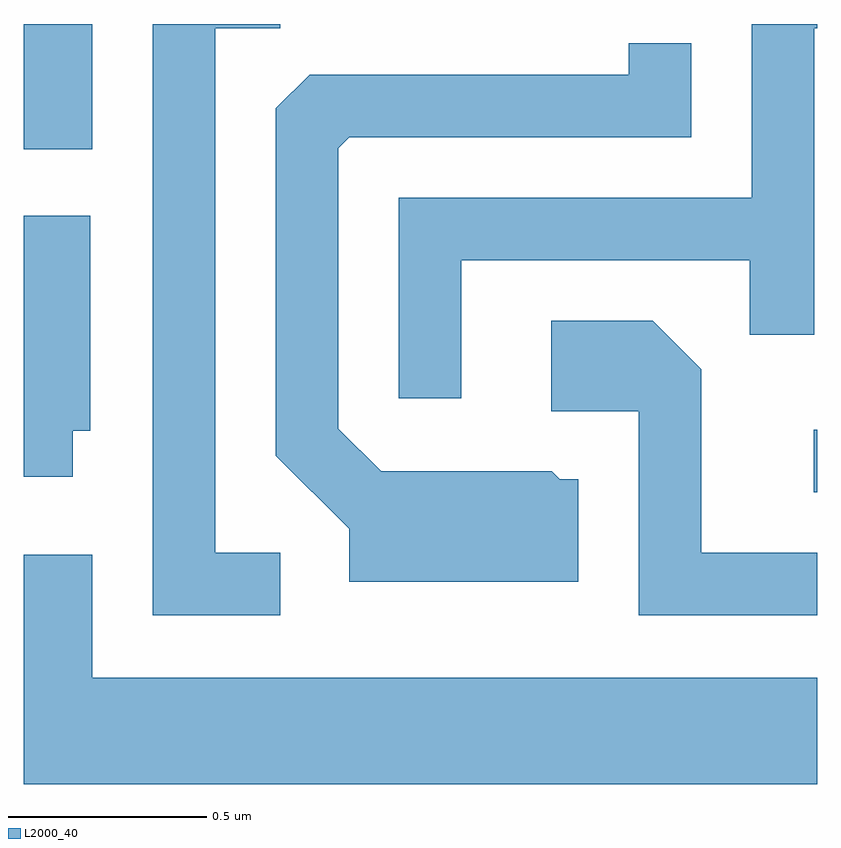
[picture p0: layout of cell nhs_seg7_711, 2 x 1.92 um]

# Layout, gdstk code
import gdstk
lib = gdstk.Library(unit=1e-6, precision=1e-09)
def R(c, l, rs):  # rectangles x0, y0, x1, y1
    for r in rs: c.add(gdstk.rectangle(r[:2], r[2:], *l))
def P(c, l, *ps):  # polygons
    for p in ps: c.add(gdstk.Polygon(p, *l))
L2000_40 = (2000, 40)

nhs_seg7_711 = lib.new_cell('nhs_seg7_711')
R(nhs_seg7_711, L2000_40, [(192.603,1695.071,192.611,1695.229), (190.611,1695.936,190.784,1696.252)])
P(nhs_seg7_711, L2000_40, [(191.258,1694.919),(191.094,1694.919),(191.094,1696.241),(191.258,1696.241),(191.258,1696.252),(190.936,1696.252),(190.936,1694.761),(191.258,1694.761)],
  [(191.714,1695.656),(192.441,1695.656),(192.441,1695.468),(192.604,1695.468),(192.604,1696.241),(192.611,1696.241),(192.611,1696.252),(192.446,1696.252),(192.446,1695.814),(191.556,1695.814),(191.556,1695.308),(191.714,1695.308)],
  [(192.009,1695.104),(191.962,1695.104),(191.942,1695.124),(191.512,1695.124),(191.404,1695.232),(191.404,1695.939),(191.432,1695.966),(192.294,1695.966),(192.294,1696.203),(192.136,1696.203),(192.136,1696.124),(191.332,1696.124),(191.246,1696.039),(191.246,1695.164),(191.431,1694.979),(191.431,1694.846),(192.009,1694.846)],
  [(190.734,1695.226),(190.779,1695.226),(190.779,1695.769),(190.611,1695.769),(190.611,1695.111),(190.734,1695.111)],
  [(192.611,1694.919),(192.319,1694.919),(192.319,1695.382),(192.197,1695.504),(191.941,1695.504),(191.941,1695.276),(192.161,1695.276),(192.161,1694.761),(192.611,1694.761)],
  [(192.611,1694.604),(190.784,1694.604),(190.784,1694.914),(190.611,1694.914),(190.611,1694.336),(192.611,1694.336)])

lib.write_gds('nhs_seg7_711.gds')
